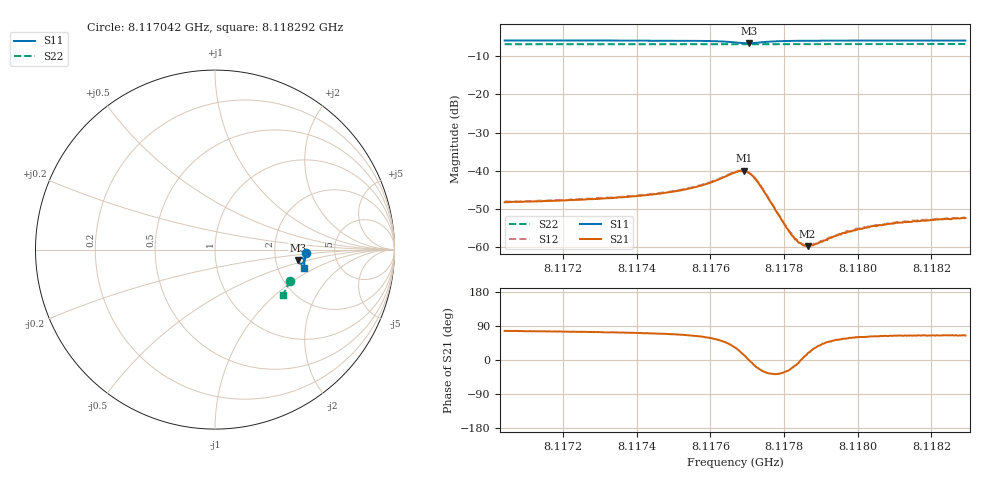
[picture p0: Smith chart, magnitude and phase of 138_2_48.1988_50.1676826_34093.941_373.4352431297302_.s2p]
#  HZ  S  RI  R  50.00
! Rohde & Schwarz Vector Network Analyzer
! Rohde-Schwarz,ZNB20-2Port,1311601062101988,3.16
! Created: UTC 3/20/2024, 11:42:12 AM
! freq[Hz]  re:S11  im:S11  re:S21  im:S21  re:S12  im:S12  re:S22  im:S22
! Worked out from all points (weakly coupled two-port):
!   401 points, 8.117042 GHz to 8.118292 GHz, reference 50 ohm
!   highest |S21| = -39.96 dB at 8.117692 GHz (marker M1); lowest = -59.7 dB at 8.117864 GHz (marker M2)
!   lowest |S11| = -6.7 dB at 8.117704 GHz (marker M3), VSWR 2.74, Z = 133 - j19.7 ohm
!   |S11| at or under -10 dB: nowhere
!   |S22| runs from -6.9 to -6.8 dB; largest |S21 - S12| = 0.0003
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8.1170416e9  0.5057 -0.0203  0.000872 0.00376  0.000991 0.00385  0.4166 -0.1724
8.117251e9  0.5041 -0.0372  0.0011 0.00404  0.00123 0.0041  0.4113 -0.1859
8.1173542e9  0.5029 -0.0462  0.00136 0.0043  0.0014 0.00434  0.4087 -0.1926
8.1174604e9  0.5009 -0.0561  0.00175 0.00472  0.00186 0.00477  0.4056 -0.1996
8.1175261e9  0.4985 -0.0635  0.00224 0.00515  0.00236 0.00525  0.4035 -0.2038
8.117573e9  0.4951 -0.0696  0.00296 0.00561  0.00309 0.00571  0.4022 -0.2068
8.1176136e9  0.4894 -0.0756  0.00424 0.00606  0.00437 0.00617  0.4006 -0.2096
8.1176668e9  0.4713 -0.078  0.00792 0.00515  0.00817 0.00518  0.3982 -0.2126
8.1176918e9  0.4613 -0.0668  0.00982 0.00213  0.00983 0.00203  0.3971 -0.2134
8.1177043e9  0.461 -0.0578  0.00943 1.48e-05  0.00953 -8.14e-05  0.3969 -0.2138
8.1177168e9  0.4653 -0.0501  0.00824 -0.0018  0.00826 -0.00179  0.3969 -0.2142
8.1177324e9  0.4736 -0.0453  0.00613 -0.00271  0.0062 -0.00281  0.3968 -0.215
8.1178074e9  0.4953 -0.056  0.00155 -0.000864  0.00162 -0.000903  0.3955 -0.2202
8.1178231e9  0.4964 -0.0588  0.00132 -0.000479  0.00135 -0.00047  0.3949 -0.2213
8.117845e9  0.4974 -0.0623  0.00113 -1.04e-05  0.00112 -2.24e-05  0.3943 -0.2229
8.1178637e9  0.4979 -0.0651  0.000982 0.000312  0.00102 0.000282  0.3937 -0.224
8.1178762e9  0.4982 -0.0668  0.000946 0.000473  0.000954 0.000467  0.3932 -0.2249
8.1179544e9  0.4984 -0.0758  0.000849 0.00119  0.000858 0.0012  0.3908 -0.2298
8.117995e9  0.4981 -0.0798  0.000825 0.00147  0.000932 0.00149  0.3894 -0.2324
8.1180857e9  0.497 -0.0881  0.000895 0.00183  0.000923 0.0018  0.3863 -0.238
8.1181701e9  0.4958 -0.0952  0.000955 0.00199  0.000989 0.002  0.3834 -0.2432
8.118292e9  0.4939 -0.1049  0.00104 0.00217  0.00106 0.00222  0.3791 -0.2505
